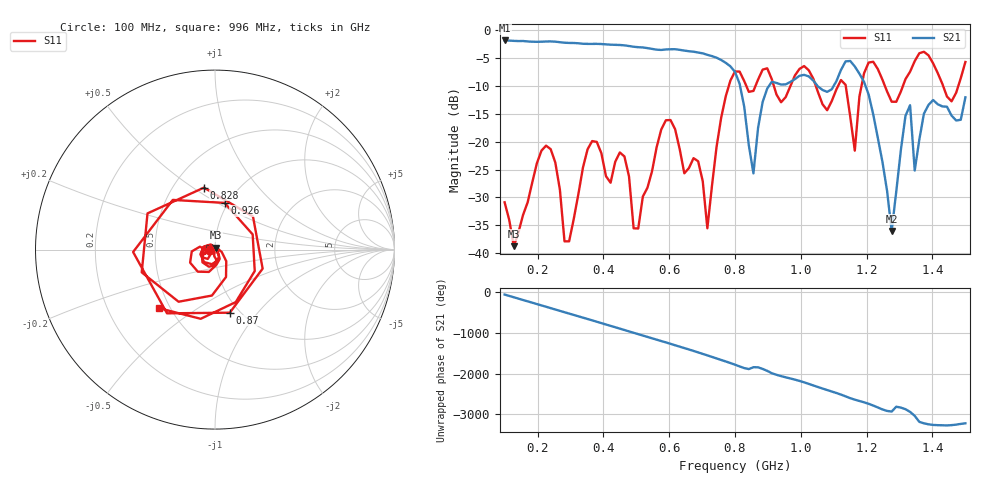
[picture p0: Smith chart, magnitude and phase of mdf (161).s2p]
! NanoVNA-App
! Date: 2025-09-25 15:39:41
! Start: 100MHz Stop: 1,5GHz Points: 101
! S-Parameter data: F S11 S21 S12 S22
# Hz S RI R 50
!  Frequency  S11_Real  S11_Imag  S21_Real  S21_Imag  S12_Real  S12_Imag  S22_Real  S22_Imag
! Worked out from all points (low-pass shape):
!   101 points, 100 MHz to 1.5 GHz, reference 50 ohm
!   highest |S21| = -1.81 dB at 100 MHz (marker M1); lowest = -36.0 dB at 1.276 GHz (marker M2)
!   |S21| within 3 dB of the highest: start of sweep to 739.1 MHz
!   lowest |S11| = -38.8 dB at 128 MHz (marker M3), VSWR 1.02, Z = 50.4 + j1.09 ohm
!   |S11| at or under -10 dB: start of sweep to 781.1 MHz; 918.2 MHz to 968.4 MHz (50.16 MHz wide, 5.32 % of centre); 1.046 GHz to 1.113 GHz (67.34 MHz wide, 6.24 % of centre) (the widest 3 of 7)
!   S12 and S22 are empty: the file has one direction only
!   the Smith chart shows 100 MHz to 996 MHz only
!   S11 on the Smith chart (normalised r, x): 100 MHz: 0.94, -0.01; 828 MHz: 0.70, +0.55; 870 MHz: 0.90, -0.73; 926 MHz: 0.96, +0.54; 996 MHz: 0.44, -0.36
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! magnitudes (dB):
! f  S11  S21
! 100 MHz  -30.9  -1.8
! 128 MHz  -38.8  -1.9
! 212 MHz  -21.6  -2.0
! 282 MHz  -37.9  -2.2
! 338 MHz  -24.7  -2.4
! 464 MHz  -22.6  -2.7
! 506 MHz  -35.6  -3.0
! 576 MHz  -17.8  -3.5
! 716 MHz  -35.5  -4.4
! 800 MHz  -7.4  -7.5
! 828 MHz  -9.1  -13.7
! 856 MHz  -10.9  -25.7
! 870 MHz  -8.8  -17.6
! 926 MHz  -11.5  -9.4
! 996 MHz  -6.9  -8.2
! 1.038 GHz  -8.7  -9.0
! 1.164 GHz  -21.6  -6.5
! 1.192 GHz  -7.7  -9.3
! 1.276 GHz  -12.8  -36.0
! 1.332 GHz  -7.4  -13.4
! 1.346 GHz  -5.5  -25.2
! 1.5 GHz  -5.7  -12.0
